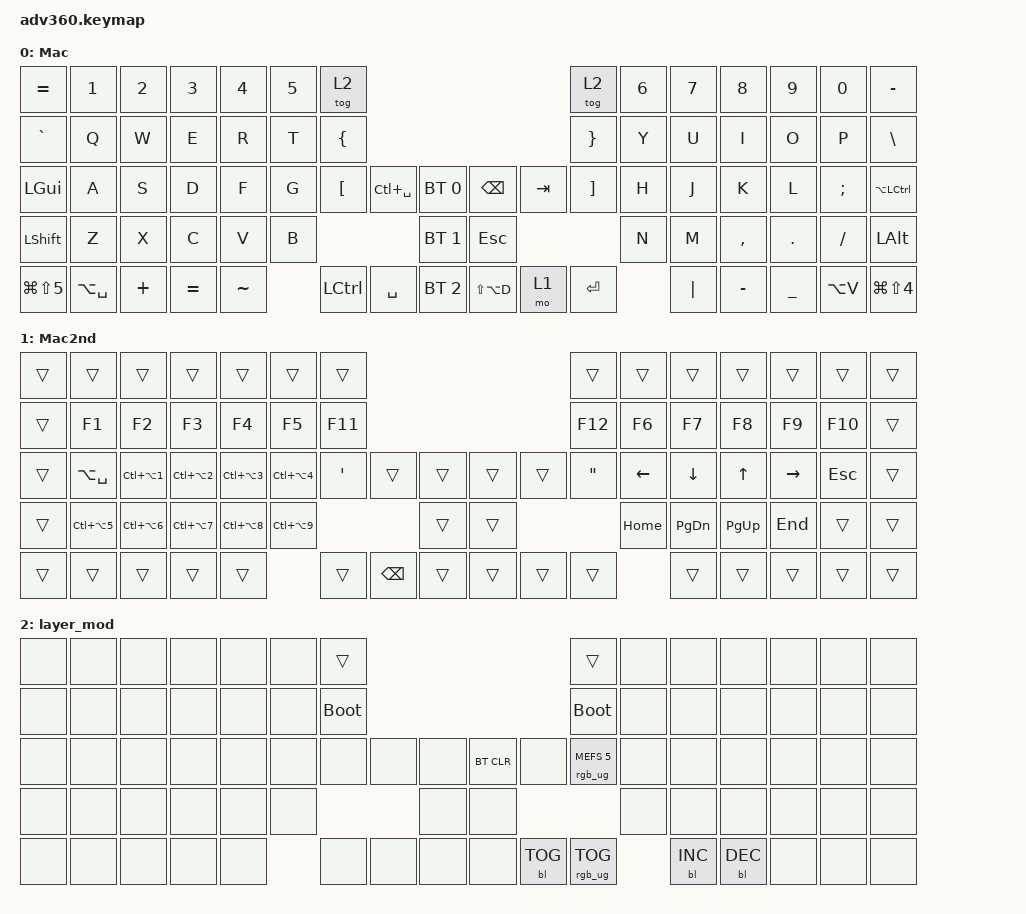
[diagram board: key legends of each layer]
/*
 * Copyright (c) 2020 The ZMK Contributors
 *
 * SPDX-License-Identifier: MIT
 */
/* THIS FILE WAS GENERATED!
 *
 * This file was generated automatically. You may or may not want to
 * edit it directly.
 */

#include <behaviors.dtsi>
#include <dt-bindings/zmk/backlight.h>
#include <dt-bindings/zmk/bt.h>
#include <dt-bindings/zmk/keys.h>
#include <dt-bindings/zmk/rgb.h>

/ {
    behaviors {
        #include "macros.dtsi"
    #include "version.dtsi"

        hm: homerow_mods {
            compatible = "zmk,behavior-hold-tap";
            label = "HOMEROW_MODS";
            #binding-cells = <2>;
            tapping-term-ms = <200>;
            quick_tap_ms = <175>;
            flavor = "tap-preferred";
            bindings = <&kp>, <&kp>;
        };
    };

    keymap {
        compatible = "zmk,keymap";

        Mac {
            bindings = <
&kp EQUAL       &kp N1         &kp N2    &kp N3     &kp N4     &kp N5  &tog 2                                                              &tog 2     &kp N6  &kp N7    &kp N8     &kp N9     &kp N0     &kp MINUS
&kp GRAVE       &kp Q          &kp W     &kp E      &kp R      &kp T   &kp LBRC                                                            &kp RBRC   &kp Y   &kp U     &kp I      &kp O      &kp P      &kp BSLH
&kp LGUI        &kp A          &kp S     &kp D      &kp F      &kp G   &kp LBKT   &kp LC(SPACE)  &bt BT_SEL 0      &kp BACKSPACE  &kp TAB  &kp RBKT   &kp H   &kp J     &kp K      &kp L      &kp SEMI   &kp LA(LCTRL)
&kp LSHFT       &kp Z          &kp X     &kp C      &kp V      &kp B                             &bt BT_SEL 1      &kp ESC                            &kp N   &kp M     &kp COMMA  &kp DOT    &kp FSLH   &kp LALT
&kp LG(LS(N5))  &kp LA(SPACE)  &kp PLUS  &kp EQUAL  &kp TILDE          &kp LCTRL  &kp SPACE      &bt BT_SEL 2      &kp LS(LA(D))  &mo 1    &kp ENTER          &kp PIPE  &kp MINUS  &kp UNDER  &kp LA(V)  &kp LG(LS(NUMBER_4))
            >;
        };

        Mac2nd {
            bindings = <
&trans  &trans          &trans                &trans                &trans                &trans                &trans                                                       &trans             &trans    &trans     &trans     &trans     &trans   &trans
&trans  &kp F1          &kp F2                &kp F3                &kp F4                &kp F5                &kp F11                                                      &kp F12            &kp F6    &kp F7     &kp F8     &kp F9     &kp F10  &trans
&trans  &kp LA(SPACE)   &kp LC(LA(NUMBER_1))  &kp LC(LA(NUMBER_2))  &kp LC(LA(NUMBER_3))  &kp LC(LA(NUMBER_4))  &kp SINGLE_QUOTE  &trans         &trans      &trans  &trans  &kp DOUBLE_QUOTES  &kp LEFT  &kp DOWN   &kp UP     &kp RIGHT  &kp ESC  &trans
&trans  &kp LC(LA(N5))  &kp LC(LA(NUMBER_6))  &kp LC(LA(N7))        &kp LC(LA(N8))        &kp LC(LA(N9))                                         &trans      &trans                             &kp HOME  &kp PG_DN  &kp PG_UP  &kp END    &trans   &trans
&trans  &trans          &trans                &trans                &trans                                      &trans            &kp BACKSPACE  &trans      &trans  &trans  &trans                       &trans     &trans     &trans     &trans   &trans
            >;
        };

        layer_mod {
            bindings = <
&none  &none  &none  &none  &none  &none  &trans                                                 &trans                  &none  &none       &none       &none  &none  &none
&none  &none  &none  &none  &none  &none  &bootloader                                            &bootloader             &none  &none       &none       &none  &none  &none
&none  &none  &none  &none  &none  &none  &none        &none  &none      &bt BT_CLR  &none       &rgb_ug RGB_MEFS_CMD 5  &none  &none       &none       &none  &none  &none
&none  &none  &none  &none  &none  &none                      &none      &none                                           &none  &none       &none       &none  &none  &none
&none  &none  &none  &none  &none         &none        &none  &none      &none       &bl BL_TOG  &rgb_ug RGB_TOG                &bl BL_INC  &bl BL_DEC  &none  &none  &none
            >;
        };
    };
};
